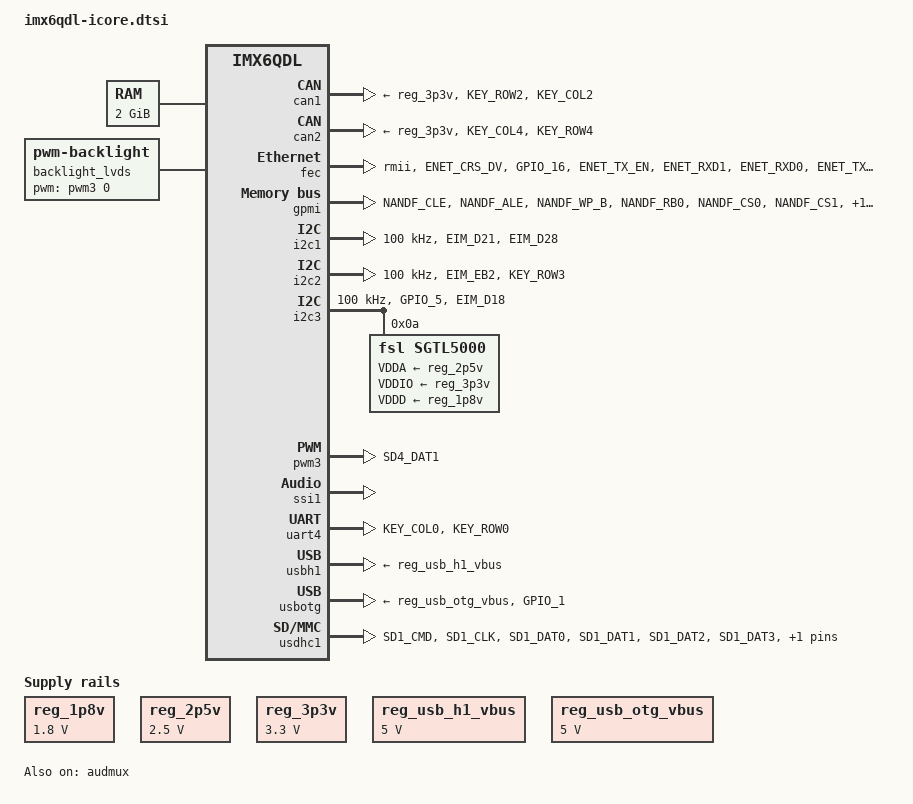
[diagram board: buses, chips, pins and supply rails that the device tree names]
// SPDX-License-Identifier: GPL-2.0 OR X11
/*
 * Copyright (C) 2016 Amarula Solutions B.V.
 * Copyright (C) 2016 Engicam S.r.l.
 */

#include <dt-bindings/gpio/gpio.h>
#include <dt-bindings/input/input.h>
#include <dt-bindings/sound/fsl-imx-audmux.h>

/ {
	memory@10000000 {
		device_type = "memory";
		reg = <0x10000000 0x80000000>;
	};

	chosen {
		stdout-path = &uart4;
	};

	backlight_lvds: backlight-lvds {
		compatible = "pwm-backlight";
		pwms = <&pwm3 0 100000>;
		brightness-levels = <0 4 8 16 32 64 128 255>;
		default-brightness-level = <7>;
	};

	reg_1p8v: regulator-1p8v {
		compatible = "regulator-fixed";
		regulator-name = "1P8V";
		regulator-min-microvolt = <1800000>;
		regulator-max-microvolt = <1800000>;
		regulator-boot-on;
		regulator-always-on;
	};

	reg_2p5v: regulator-2p5v {
		compatible = "regulator-fixed";
		regulator-name = "2P5V";
		regulator-min-microvolt = <2500000>;
		regulator-max-microvolt = <2500000>;
		regulator-boot-on;
		regulator-always-on;
	};

	reg_3p3v: regulator-3p3v {
		compatible = "regulator-fixed";
		regulator-name = "3P3V";
		regulator-min-microvolt = <3300000>;
		regulator-max-microvolt = <3300000>;
		regulator-boot-on;
		regulator-always-on;
	};

	reg_usb_h1_vbus: regulator-usb-h1-vbus {
		compatible = "regulator-fixed";
		regulator-name = "usb_h1_vbus";
		regulator-min-microvolt = <5000000>;
		regulator-max-microvolt = <5000000>;
		regulator-boot-on;
		regulator-always-on;
	};

	reg_usb_otg_vbus: regulator-usb-otg-vbus {
		compatible = "regulator-fixed";
		regulator-name = "usb_otg_vbus";
		regulator-min-microvolt = <5000000>;
		regulator-max-microvolt = <5000000>;
		regulator-boot-on;
		regulator-always-on;
	};

	rmii_clk: clock-rmii-clk {
		compatible = "fixed-clock";
		#clock-cells = <0>;
		clock-frequency = <25000000>;  /* 25MHz for example */
	};

	sound {
		compatible = "simple-audio-card";
		simple-audio-card,name = "imx6qdl-icore-sgtl5000";
		simple-audio-card,format = "i2s";
		simple-audio-card,bitclock-master = <&dailink_master>;
		simple-audio-card,frame-master = <&dailink_master>;
		simple-audio-card,widgets =
			"Microphone", "Mic Jack",
			"Headphone", "Headphone Jack",
			"Line", "Line In Jack",
			"Speaker", "Line Out Jack",
			"Speaker", "Ext Spk";
		simple-audio-card,routing =
			"MIC_IN", "Mic Jack",
			"Mic Jack", "Mic Bias",
			"Headphone Jack", "HP_OUT";

		simple-audio-card,cpu {
			sound-dai = <&ssi1>;
		};

		dailink_master: simple-audio-card,codec {
			sound-dai = <&sgtl5000>;
		};
	};
};

&audmux {
	pinctrl-names = "default";
	pinctrl-0 = <&pinctrl_audmux>;
	status = "okay";


	audmux_ssi1 {
		fsl,audmux-port = <MX51_AUDMUX_PORT1_SSI0>;
		fsl,port-config = <
			(IMX_AUDMUX_V2_PTCR_TFSDIR |
			IMX_AUDMUX_V2_PTCR_TFSEL(MX51_AUDMUX_PORT4) |
			IMX_AUDMUX_V2_PTCR_TCLKDIR |
			IMX_AUDMUX_V2_PTCR_TCSEL(MX51_AUDMUX_PORT4) |
			IMX_AUDMUX_V2_PTCR_SYN)
			IMX_AUDMUX_V2_PDCR_RXDSEL(MX51_AUDMUX_PORT4)
		>;
	};

	audmux_aud4 {
		fsl,audmux-port = <MX51_AUDMUX_PORT4>;
		fsl,port-config = <
			IMX_AUDMUX_V2_PTCR_SYN
			IMX_AUDMUX_V2_PDCR_RXDSEL(MX51_AUDMUX_PORT1_SSI0)
		>;
	};
};

&can1 {
	pinctrl-names = "default";
	pinctrl-0 = <&pinctrl_flexcan1>;
	xceiver-supply = <&reg_3p3v>;
};

&can2 {
	pinctrl-names = "default";
	pinctrl-0 = <&pinctrl_flexcan2>;
	xceiver-supply = <&reg_3p3v>;
};

&clks {
	assigned-clocks = <&clks IMX6QDL_CLK_LVDS2_SEL>;
	assigned-clock-parents = <&clks IMX6QDL_CLK_OSC>;
};

&fec {
	pinctrl-names = "default";
	pinctrl-0 = <&pinctrl_enet>;
	phy-reset-gpios = <&gpio7 12 GPIO_ACTIVE_LOW>;
	clocks = <&clks IMX6QDL_CLK_ENET>, <&clks IMX6QDL_CLK_ENET>, <&rmii_clk>;
	phy-mode = "rmii";
	status = "okay";
};

&gpmi {
	pinctrl-names = "default";
	pinctrl-0 = <&pinctrl_gpmi_nand>;
	nand-on-flash-bbt;
	status = "okay";
};

&i2c1 {
	clock-frequency = <100000>;
	pinctrl-names = "default";
	pinctrl-0 = <&pinctrl_i2c1>;
	status = "okay";
};

&i2c2 {
	clock-frequency = <100000>;
	pinctrl-names = "default";
	pinctrl-0 = <&pinctrl_i2c2>;
	status = "okay";
};

&i2c3 {
	clock-frequency = <100000>;
	pinctrl-names = "default";
	pinctrl-0 = <&pinctrl_i2c3>;
	status = "okay";

	ov5640: camera@3c {
		compatible = "ovti,ov5640";
		pinctrl-names = "default";
		pinctrl-0 = <&pinctrl_ov5640>;
		reg = <0x3c>;
		clocks = <&clks IMX6QDL_CLK_CKO>;
		clock-names = "xclk";
		DOVDD-supply = <&reg_1p8v>;
		AVDD-supply = <&reg_3p3v>;
		DVDD-supply = <&reg_3p3v>;
		powerdown-gpios = <&gpio5 30 GPIO_ACTIVE_HIGH>;
		reset-gpios = <&gpio5 31 GPIO_ACTIVE_LOW>;
		status = "disabled";

		port {
			ov5640_to_mipi_csi2: endpoint {
				remote-endpoint = <&mipi_csi2_in>;
				clock-lanes = <0>;
				data-lanes = <1 2>;
			};
		};
	};

	sgtl5000: codec@a {
		#sound-dai-cells = <0>;
		compatible = "fsl,sgtl5000";
		reg = <0x0a>;
		clocks = <&clks IMX6QDL_CLK_CKO>;
		VDDA-supply = <&reg_2p5v>;
		VDDIO-supply = <&reg_3p3v>;
		VDDD-supply = <&reg_1p8v>;
	};
};

&mipi_csi {
	status = "disabled";

	port@0 {
		reg = <0>;

		mipi_csi2_in: endpoint {
			remote-endpoint = <&ov5640_to_mipi_csi2>;
			clock-lanes = <0>;
			data-lanes = <1 2>;
		};
	};
};

&pwm3 {
	pinctrl-names = "default";
	pinctrl-0 = <&pinctrl_pwm3>;
	status = "okay";
};

&ssi1 {
	fsl,mode = "i2s-slave";
	status = "okay";
};

&uart4 {
	pinctrl-names = "default";
	pinctrl-0 = <&pinctrl_uart4>;
	status = "okay";
};

&usbh1 {
	vbus-supply = <&reg_usb_h1_vbus>;
	disable-over-current;
	status = "okay";
};

&usbotg {
	vbus-supply = <&reg_usb_otg_vbus>;
	pinctrl-names = "default";
	pinctrl-0 = <&pinctrl_usbotg>;
	disable-over-current;
	status = "okay";
};

&usdhc1 {
	pinctrl-names = "default";
	pinctrl-0 = <&pinctrl_usdhc1>;
	cd-gpios = <&gpio1 1 GPIO_ACTIVE_LOW>;
	no-1-8-v;
	status = "okay";
};

&usdhc3 {
	pinctrl-names = "default";
	pinctrl-0 = <&pinctrl_usdhc3>;
	no-1-8-v;
	non-removable;
	status = "disabled";
};

&iomuxc {
	pinctrl_audmux: audmuxgrp {
		fsl,pins = <
			MX6QDL_PAD_DISP0_DAT20__AUD4_TXC  0x130b0
			MX6QDL_PAD_DISP0_DAT21__AUD4_TXD  0x110b0
			MX6QDL_PAD_DISP0_DAT22__AUD4_TXFS 0x130b0
			MX6QDL_PAD_DISP0_DAT23__AUD4_RXD  0x130b0
		>;
	};

	pinctrl_enet: enetgrp {
		fsl,pins = <
			MX6QDL_PAD_ENET_CRS_DV__ENET_RX_EN	0x1b0b0
			MX6QDL_PAD_GPIO_16__ENET_REF_CLK	0x1b0b1
			MX6QDL_PAD_ENET_TX_EN__ENET_TX_EN	0x1b0b0
			MX6QDL_PAD_ENET_RXD1__ENET_RX_DATA1	0x1b0b0
			MX6QDL_PAD_ENET_RXD0__ENET_RX_DATA0	0x1b0b0
			MX6QDL_PAD_ENET_TXD1__ENET_TX_DATA1	0x1b0b0
			MX6QDL_PAD_ENET_TXD0__ENET_TX_DATA0	0x1b0b0
			MX6QDL_PAD_ENET_MDC__ENET_MDC		0x1b0b0
			MX6QDL_PAD_ENET_MDIO__ENET_MDIO		0x1b0b0
			MX6QDL_PAD_ENET_REF_CLK__GPIO1_IO23	0x1b0b0
			MX6QDL_PAD_GPIO_17__GPIO7_IO12		0x1b0b0
		>;
	};

	pinctrl_flexcan1: flexcan1grp {
		fsl,pins = <
			MX6QDL_PAD_KEY_ROW2__FLEXCAN1_RX 0x1b020
			MX6QDL_PAD_KEY_COL2__FLEXCAN1_TX 0x1b020
		>;
	};

	pinctrl_flexcan2: flexcan2grp {
		fsl,pins = <
			MX6QDL_PAD_KEY_COL4__FLEXCAN2_TX 0x1b020
			MX6QDL_PAD_KEY_ROW4__FLEXCAN2_RX 0x1b020
		>;
	};

	pinctrl_gpmi_nand: gpminandgrp {
		fsl,pins = <
			MX6QDL_PAD_NANDF_CLE__NAND_CLE     0xb0b1
			MX6QDL_PAD_NANDF_ALE__NAND_ALE     0xb0b1
			MX6QDL_PAD_NANDF_WP_B__NAND_WP_B   0xb0b1
			MX6QDL_PAD_NANDF_RB0__NAND_READY_B 0xb000
			MX6QDL_PAD_NANDF_CS0__NAND_CE0_B   0xb0b1
			MX6QDL_PAD_NANDF_CS1__NAND_CE1_B   0xb0b1
			MX6QDL_PAD_SD4_CMD__NAND_RE_B      0xb0b1
			MX6QDL_PAD_SD4_CLK__NAND_WE_B      0xb0b1
			MX6QDL_PAD_NANDF_D0__NAND_DATA00   0xb0b1
			MX6QDL_PAD_NANDF_D1__NAND_DATA01   0xb0b1
			MX6QDL_PAD_NANDF_D2__NAND_DATA02   0xb0b1
			MX6QDL_PAD_NANDF_D3__NAND_DATA03   0xb0b1
			MX6QDL_PAD_NANDF_D4__NAND_DATA04   0xb0b1
			MX6QDL_PAD_NANDF_D5__NAND_DATA05   0xb0b1
			MX6QDL_PAD_NANDF_D6__NAND_DATA06   0xb0b1
			MX6QDL_PAD_NANDF_D7__NAND_DATA07   0xb0b1
			MX6QDL_PAD_SD4_DAT0__NAND_DQS      0x00b1
		>;
	};

	pinctrl_i2c1: i2c1grp {
		fsl,pins = <
			MX6QDL_PAD_EIM_D21__I2C1_SCL 0x4001b8b1
			MX6QDL_PAD_EIM_D28__I2C1_SDA 0x4001b8b1
		>;
	};

	pinctrl_i2c2: i2c2grp {
		fsl,pins = <
			MX6QDL_PAD_EIM_EB2__I2C2_SCL  0x4001b8b1
			MX6QDL_PAD_KEY_ROW3__I2C2_SDA 0x4001b8b1
		>;
	};

	pinctrl_i2c3: i2c3grp {
		fsl,pins = <
			MX6QDL_PAD_GPIO_5__I2C3_SCL  0x4001b8b1
			MX6QDL_PAD_EIM_D18__I2C3_SDA 0x4001b8b1
		>;
	};

	pinctrl_ov5640: ov5640grp {
		fsl,pins = <
			MX6QDL_PAD_CSI0_DAT12__GPIO5_IO30 0x1b0b0
			MX6QDL_PAD_CSI0_DAT13__GPIO5_IO31 0x1b0b0
			MX6QDL_PAD_GPIO_0__CCM_CLKO1	  0x130b0
		>;
	};

	pinctrl_uart4: uart4grp {
		fsl,pins = <
			MX6QDL_PAD_KEY_COL0__UART4_TX_DATA 0x1b0b1
			MX6QDL_PAD_KEY_ROW0__UART4_RX_DATA 0x1b0b1
		>;
	};

	pinctrl_pwm3: pwm3grp {
		fsl,pins = <
			MX6QDL_PAD_SD4_DAT1__PWM3_OUT 0x1b0b1
		>;
	};

	pinctrl_usbotg: usbotggrp {
		fsl,pins = <
			MX6QDL_PAD_GPIO_1__USB_OTG_ID 0x17059
		>;
	};

	pinctrl_usdhc1: usdhc1grp {
		fsl,pins = <
			MX6QDL_PAD_SD1_CMD__SD1_CMD    0x17070
			MX6QDL_PAD_SD1_CLK__SD1_CLK    0x10070
			MX6QDL_PAD_SD1_DAT0__SD1_DATA0 0x17070
			MX6QDL_PAD_SD1_DAT1__SD1_DATA1 0x17070
			MX6QDL_PAD_SD1_DAT2__SD1_DATA2 0x17070
			MX6QDL_PAD_SD1_DAT3__SD1_DATA3 0x17070
		>;
	};

	pinctrl_usdhc3: usdhc3grp {
		fsl,pins = <
			MX6QDL_PAD_SD3_CMD__SD3_CMD    0x17059
			MX6QDL_PAD_SD3_CLK__SD3_CLK    0x10059
			MX6QDL_PAD_SD3_DAT0__SD3_DATA0 0x17059
			MX6QDL_PAD_SD3_DAT1__SD3_DATA1 0x17059
			MX6QDL_PAD_SD3_DAT2__SD3_DATA2 0x17059
			MX6QDL_PAD_SD3_DAT3__SD3_DATA3 0x17059
			MX6QDL_PAD_SD3_DAT4__SD3_DATA4 0x17059
			MX6QDL_PAD_SD3_DAT5__SD3_DATA5 0x17059
			MX6QDL_PAD_SD3_DAT6__SD3_DATA6 0x17059
			MX6QDL_PAD_SD3_DAT7__SD3_DATA7 0x17059
		>;
	};
};
